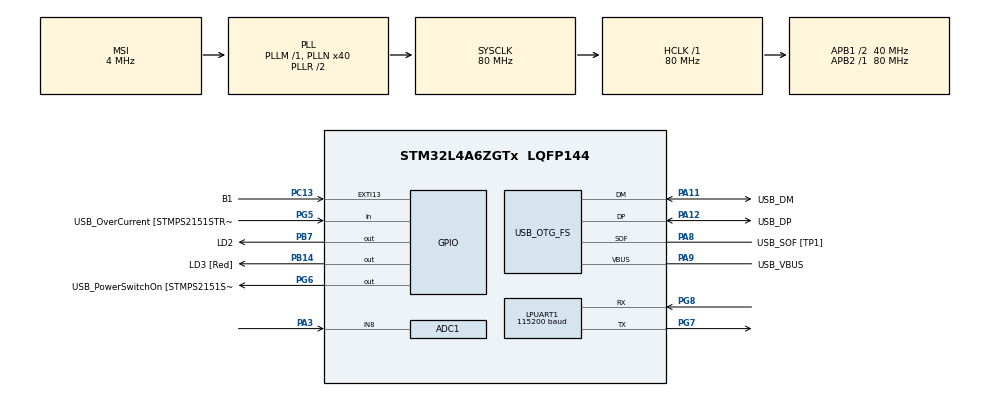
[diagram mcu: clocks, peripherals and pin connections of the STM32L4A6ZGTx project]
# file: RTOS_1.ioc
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ADC1.Channel-2\#ChannelRegularConversion=ADC_CHANNEL_8
ADC1.ContinuousConvMode=ENABLE
ADC1.NbrOfConversionFlag=1
ADC1.OffsetNumber-2\#ChannelRegularConversion=ADC_OFFSET_NONE
ADC1.Rank-2\#ChannelRegularConversion=1
ADC1.SamplingTime-2\#ChannelRegularConversion=ADC_SAMPLETIME_2CYCLES_5
ADC1.master=1
FREERTOS.INCLUDE_vTaskDelayUntil=1
FREERTOS.Tasks01=defaultTask,0,128,StartDefaultTask,Default,NULL,Dynamic,NULL,NULL;myTask02,0,128,Task02_init,Default,NULL,Dynamic,NULL,NULL;myTask04,1,128,StartTask04,Default,NULL,Dynamic,NULL,NULL
FREERTOS.configUSE_NEWLIB_REENTRANT=1
LPUART1.BaudRate=115200
LPUART1.WordLength=UART_WORDLENGTH_8B
Mcu.Family=STM32L4
Mcu.Name=STM32L4A6ZGTx
Mcu.Package=LQFP144
NVIC.PriorityGroup=NVIC_PRIORITYGROUP_4
NVIC.TIM1_UP_TIM16_IRQn=true\:15\:0\:false\:false\:true\:false\:false\:true\:true
NVIC.TimeBase=TIM1_UP_TIM16_IRQn
NVIC.TimeBaseIP=TIM1
PA10.GPIO_Label=USB_ID
PA10.Signal=USB_OTG_FS_ID
PA11.GPIO_Label=USB_DM
PA11.Mode=Device_Only
PA11.Signal=USB_OTG_FS_DM
PA12.GPIO_Label=USB_DP
PA12.Mode=Device_Only
PA12.Signal=USB_OTG_FS_DP
PA13\ (JTMS/SWDIO).GPIO_Label=TMS
PA13\ (JTMS/SWDIO).Mode=Trace_Asynchronous_SW
PA13\ (JTMS/SWDIO).Signal=SYS_JTMS-SWDIO
PA14\ (JTCK/SWCLK).GPIO_Label=TCK
PA14\ (JTCK/SWCLK).Mode=Trace_Asynchronous_SW
PA14\ (JTCK/SWCLK).Signal=SYS_JTCK-SWCLK
PA3.Signal=ADCx_IN8
PA8.GPIO_Label=USB_SOF [TP1]
PA8.Mode=Activate_SOF_FS
PA8.Signal=USB_OTG_FS_SOF
PA9.GPIO_Label=USB_VBUS
PA9.Mode=Activate_VBUS
PA9.Signal=USB_OTG_FS_VBUS
PB14.GPIO_Label=LD3 [Red]
PB14.Signal=GPIO_Output
PB3\ (JTDO/TRACESWO).GPIO_Label=SWO
PB3\ (JTDO/TRACESWO).Mode=Trace_Asynchronous_SW
PB3\ (JTDO/TRACESWO).Signal=SYS_JTDO-SWO
PB7.GPIO_Label=LD2
PB7.Signal=GPIO_Output
PC13.GPIO_Label=B1
PC13.Signal=GPXTI13
PC14-OSC32_IN\ (PC14).Mode=LSE-External-Oscillator
PC14-OSC32_IN\ (PC14).Signal=RCC_OSC32_IN
PC15-OSC32_OUT\ (PC15).Mode=LSE-External-Oscillator
PC15-OSC32_OUT\ (PC15).Signal=RCC_OSC32_OUT
PG5.GPIO_Label=USB_OverCurrent [STMPS2151STR_FAULT]
PG5.Signal=GPIO_Input
PG6.GPIO_Label=USB_PowerSwitchOn [STMPS2151STR_EN]
PG6.Signal=GPIO_Output
PG7.Mode=Asynchronous
PG7.Signal=LPUART1_TX
PG8.Mode=Asynchronous
PG8.Signal=LPUART1_RX
PH1-OSC_OUT\ (PH1).Signal=RCC_OSC_OUT
ProjectManager.HeapSize=0x200
ProjectManager.StackSize=0x400
ProjectManager.TargetToolchain=STM32CubeIDE
RCC.ADCFreq_Value=48000000
RCC.AHBFreq_Value=80000000
RCC.APB1CLKDivider=RCC_HCLK_DIV2
RCC.APB1Freq_Value=40000000
RCC.APB1TimFreq_Value=80000000
RCC.APB2Freq_Value=80000000
RCC.APB2TimFreq_Value=80000000
RCC.CortexFreq_Value=80000000
RCC.FLatency=FLASH_LATENCY_4
RCC.HCLKFreq_Value=80000000
RCC.HSE_VALUE=8000000
RCC.HSI48_VALUE=48000000
RCC.HSI_VALUE=16000000
RCC.MSI_VALUE=4000000
RCC.PLLN=40
RCC.PLLSAI1N=24
RCC.SYSCLKFreq_VALUE=80000000
RCC.SYSCLKSource=RCC_SYSCLKSOURCE_PLLCLK
RCC.USBFreq_Value=48000000
RCC.VCOOutputFreq_Value=160000000
SH.ADCx_IN8.0=ADC1_IN8,IN8-Single-Ended
USB_OTG_FS.Sof_enable=ENABLE
USB_OTG_FS.VirtualMode=Device_Only
USB_OTG_FS.battery_charging_enable=ENABLE
USB_OTG_FS.low_power_enable=DISABLE
USB_OTG_FS.lpm_enable=DISABLE
USB_OTG_FS.use_dedicated_ep1=DISABLE
USB_OTG_FS.vbus_sensing_enable=ENABLE
VP_FREERTOS_VS_CMSIS_V1.Mode=CMSIS_V1
VP_SYS_VS_tim1.Mode=TIM1
board=NUCLEO-L4A6ZG

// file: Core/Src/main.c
/* USER CODE BEGIN Header */
/**
  ******************************************************************************
  * @file           : main.c
  * @brief          : Main program body
  ******************************************************************************
  * @attention
  *
  * Copyright (c) 2025 STMicroelectronics.
  * All rights reserved.
  *
  * This software is licensed under terms that can be found in the LICENSE file
  * in the root directory of this software component.
  * If no LICENSE file comes with this software, it is provided AS-IS.
  *
  ******************************************************************************
  */
/* USER CODE END Header */
#include "main.h"
#include "cmsis_os.h"

/* USER CODE BEGIN Includes */
#include"stdio.h"
#include"string.h"
#include <math.h>
#include<stdbool.h>

#define ITM_PORT 0
uint8_t indix=0;
uint16_t ADC_Val;
float voltage=0;
float Angle=0;
char msg[64];

int _write(int file, char *ptr, int len) {
    for (int i = 0; i < len; i++) {
        ITM_SendChar(ptr[i]);
    }
    return len;
}
void float_to_string_manual(float value, char* buffer, int precision) {
    if (value < 0) {
        *buffer++ = '-';
        value = -value;
    }

    int int_part = (int)value;
    int frac_part = (int)((value - int_part) * pow(10, precision));

    // Convert integer part
    char int_str[12];
    int i = 0;
    if (int_part == 0) {
        int_str[i++] = '0';
    } else {
        while (int_part > 0) {
            int_str[i++] = (int_part % 10) + '0';
            int_part /= 10;
        }
    }

    // Reverse integer part
    for (int j = i - 1; j >= 0; j--) {
        *buffer++ = int_str[j];
    }

    *buffer++ = '.';

    // Convert fractional part
    for (int j = precision - 1; j >= 0; j--) {
        buffer[j] = (frac_part % 10) + '0';
        frac_part /= 10;
    }

    buffer += precision;
    *buffer = '\0';
}

/* USER CODE END Includes */

ADC_HandleTypeDef hadc1;

UART_HandleTypeDef hlpuart1;

PCD_HandleTypeDef hpcd_USB_OTG_FS;

osThreadId defaultTaskHandle;
osThreadId myTask02Handle;
osThreadId myTask04Handle;

void SystemClock_Config(void);
void PeriphCommonClock_Config(void);
static void MX_GPIO_Init(void);
static void MX_LPUART1_UART_Init(void);
static void MX_USB_OTG_FS_PCD_Init(void);
static void MX_ADC1_Init(void);
void StartDefaultTask(void const * argument);
void Task02_init(void const * argument);
void StartTask04(void const * argument);

int main(void)
{

  /* MCU Configuration--------------------------------------------------------*/

  /* Reset of all peripherals, Initializes the Flash interface and the Systick. */
  HAL_Init();

  /* Configure the system clock */
  SystemClock_Config();

  /* Configure the peripherals common clocks */
  PeriphCommonClock_Config();

  /* Initialize all configured peripherals */
  MX_GPIO_Init();
  MX_LPUART1_UART_Init();
  MX_USB_OTG_FS_PCD_Init();
  MX_ADC1_Init();
  /* USER CODE BEGIN 2 */
//+ printf("[%lu ms] Hello, world!\r\n", HAL_GetTick());

  //sprintf(msg, "[%lu ms] Hello, world!\r\n", HAL_GetTick());
  //HAL_UART_Transmit(&hlpuart1, (uint8_t *)msg, strlen(msg), HAL_MAX_DELAY);

 HAL_UART_Transmit(&hlpuart1,(uint8_t *)"\n starting...\r\n",strlen("\n starting...\n"),HAL_MAX_DELAY);

  /* USER CODE END 2 */

  /* Create the thread(s) */
  /* definition and creation of defaultTask */
  osThreadDef(defaultTask, StartDefaultTask, osPriorityNormal, 0, 128);
  defaultTaskHandle = osThreadCreate(osThread(defaultTask), NULL);

  /* definition and creation of myTask02 */
  osThreadDef(myTask02, Task02_init, osPriorityNormal, 0, 128);
  myTask02Handle = osThreadCreate(osThread(myTask02), NULL);

  /* definition and creation of myTask04 */
  osThreadDef(myTask04, StartTask04, osPriorityAboveNormal, 0, 128);
  myTask04Handle = osThreadCreate(osThread(myTask04), NULL);

  /* Start scheduler */
  osKernelStart();

  /* We should never get here as control is now taken by the scheduler */

  /* Infinite loop */
  while (1)
  {

  }
}

void SystemClock_Config(void)
{
  RCC_OscInitTypeDef RCC_OscInitStruct = {0};
  RCC_ClkInitTypeDef RCC_ClkInitStruct = {0};

  /** Configure the main internal regulator output voltage
  */
  if (HAL_PWREx_ControlVoltageScaling(PWR_REGULATOR_VOLTAGE_SCALE1) != HAL_OK)
  {
    Error_Handler();
  }

  /** Configure LSE Drive Capability
  */
  HAL_PWR_EnableBkUpAccess();
  __HAL_RCC_LSEDRIVE_CONFIG(RCC_LSEDRIVE_LOW);

  /** Initializes the RCC Oscillators according to the specified parameters
  * in the RCC_OscInitTypeDef structure.
  */
  RCC_OscInitStruct.OscillatorType = RCC_OSCILLATORTYPE_LSE|RCC_OSCILLATORTYPE_MSI;
  RCC_OscInitStruct.LSEState = RCC_LSE_ON;
  RCC_OscInitStruct.MSIState = RCC_MSI_ON;
  RCC_OscInitStruct.MSICalibrationValue = 0;
  RCC_OscInitStruct.MSIClockRange = RCC_MSIRANGE_6;
  RCC_OscInitStruct.PLL.PLLState = RCC_PLL_ON;
  RCC_OscInitStruct.PLL.PLLSource = RCC_PLLSOURCE_MSI;
  RCC_OscInitStruct.PLL.PLLM = 1;
  RCC_OscInitStruct.PLL.PLLN = 40;
  RCC_OscInitStruct.PLL.PLLP = RCC_PLLP_DIV2;
  RCC_OscInitStruct.PLL.PLLQ = RCC_PLLQ_DIV2;
  RCC_OscInitStruct.PLL.PLLR = RCC_PLLR_DIV2;
  if (HAL_RCC_OscConfig(&RCC_OscInitStruct) != HAL_OK)
  {
    Error_Handler();
  }

  /** Initializes the CPU, AHB and APB buses clocks
  */
  RCC_ClkInitStruct.ClockType = RCC_CLOCKTYPE_HCLK|RCC_CLOCKTYPE_SYSCLK
                              |RCC_CLOCKTYPE_PCLK1|RCC_CLOCKTYPE_PCLK2;
  RCC_ClkInitStruct.SYSCLKSource = RCC_SYSCLKSOURCE_PLLCLK;
  RCC_ClkInitStruct.AHBCLKDivider = RCC_SYSCLK_DIV1;
  RCC_ClkInitStruct.APB1CLKDivider = RCC_HCLK_DIV2;
  RCC_ClkInitStruct.APB2CLKDivider = RCC_HCLK_DIV1;

  if (HAL_RCC_ClockConfig(&RCC_ClkInitStruct, FLASH_LATENCY_4) != HAL_OK)
  {
    Error_Handler();
  }

  /** Enable MSI Auto calibration
  */
  HAL_RCCEx_EnableMSIPLLMode();
}

void PeriphCommonClock_Config(void)
{
  RCC_PeriphCLKInitTypeDef PeriphClkInit = {0};

  /** Initializes the peripherals clock
  */
  PeriphClkInit.PeriphClockSelection = RCC_PERIPHCLK_USB|RCC_PERIPHCLK_ADC;
  PeriphClkInit.AdcClockSelection = RCC_ADCCLKSOURCE_PLLSAI1;
  PeriphClkInit.UsbClockSelection = RCC_USBCLKSOURCE_PLLSAI1;
  PeriphClkInit.PLLSAI1.PLLSAI1Source = RCC_PLLSOURCE_MSI;
  PeriphClkInit.PLLSAI1.PLLSAI1M = 1;
  PeriphClkInit.PLLSAI1.PLLSAI1N = 24;
  PeriphClkInit.PLLSAI1.PLLSAI1P = RCC_PLLP_DIV2;
  PeriphClkInit.PLLSAI1.PLLSAI1Q = RCC_PLLQ_DIV2;
  PeriphClkInit.PLLSAI1.PLLSAI1R = RCC_PLLR_DIV2;
  PeriphClkInit.PLLSAI1.PLLSAI1ClockOut = RCC_PLLSAI1_48M2CLK|RCC_PLLSAI1_ADC1CLK;
  if (HAL_RCCEx_PeriphCLKConfig(&PeriphClkInit) != HAL_OK)
  {
    Error_Handler();
  }
}

static void MX_ADC1_Init(void)
{

  ADC_MultiModeTypeDef multimode = {0};
  ADC_ChannelConfTypeDef sConfig = {0};

  /** Common config
  */
  hadc1.Instance = ADC1;
  hadc1.Init.ClockPrescaler = ADC_CLOCK_ASYNC_DIV1;
  hadc1.Init.Resolution = ADC_RESOLUTION_12B;
  hadc1.Init.DataAlign = ADC_DATAALIGN_RIGHT;
  hadc1.Init.ScanConvMode = ADC_SCAN_DISABLE;
  hadc1.Init.EOCSelection = ADC_EOC_SINGLE_CONV;
  hadc1.Init.LowPowerAutoWait = DISABLE;
  hadc1.Init.ContinuousConvMode = ENABLE;
  hadc1.Init.NbrOfConversion = 1;
  hadc1.Init.DiscontinuousConvMode = DISABLE;
  hadc1.Init.ExternalTrigConv = ADC_SOFTWARE_START;
  hadc1.Init.ExternalTrigConvEdge = ADC_EXTERNALTRIGCONVEDGE_NONE;
  hadc1.Init.DMAContinuousRequests = DISABLE;
  hadc1.Init.Overrun = ADC_OVR_DATA_PRESERVED;
  hadc1.Init.OversamplingMode = DISABLE;
  if (HAL_ADC_Init(&hadc1) != HAL_OK)
  {
    Error_Handler();
  }

  /** Configure the ADC multi-mode
  */
  multimode.Mode = ADC_MODE_INDEPENDENT;
  if (HAL_ADCEx_MultiModeConfigChannel(&hadc1, &multimode) != HAL_OK)
  {
    Error_Handler();
  }

  /** Configure Regular Channel
  */
  sConfig.Channel = ADC_CHANNEL_8;
  sConfig.Rank = ADC_REGULAR_RANK_1;
  sConfig.SamplingTime = ADC_SAMPLETIME_2CYCLES_5;
  sConfig.SingleDiff = ADC_SINGLE_ENDED;
  sConfig.OffsetNumber = ADC_OFFSET_NONE;
  sConfig.Offset = 0;
  if (HAL_ADC_ConfigChannel(&hadc1, &sConfig) != HAL_OK)
  {
    Error_Handler();
  }

}

static void MX_LPUART1_UART_Init(void)
{

  hlpuart1.Instance = LPUART1;
  hlpuart1.Init.BaudRate = 115200;
  hlpuart1.Init.WordLength = UART_WORDLENGTH_8B;
  hlpuart1.Init.StopBits = UART_STOPBITS_1;
  hlpuart1.Init.Parity = UART_PARITY_NONE;
  hlpuart1.Init.Mode = UART_MODE_TX_RX;
  hlpuart1.Init.HwFlowCtl = UART_HWCONTROL_NONE;
  hlpuart1.Init.OneBitSampling = UART_ONE_BIT_SAMPLE_DISABLE;
  hlpuart1.AdvancedInit.AdvFeatureInit = UART_ADVFEATURE_NO_INIT;
  if (HAL_UART_Init(&hlpuart1) != HAL_OK)
  {
    Error_Handler();
  }

}

static void MX_USB_OTG_FS_PCD_Init(void)
{

  hpcd_USB_OTG_FS.Instance = USB_OTG_FS;
  hpcd_USB_OTG_FS.Init.dev_endpoints = 6;
  hpcd_USB_OTG_FS.Init.speed = PCD_SPEED_FULL;
  hpcd_USB_OTG_FS.Init.phy_itface = PCD_PHY_EMBEDDED;
  hpcd_USB_OTG_FS.Init.Sof_enable = ENABLE;
  hpcd_USB_OTG_FS.Init.low_power_enable = DISABLE;
  hpcd_USB_OTG_FS.Init.lpm_enable = DISABLE;
  hpcd_USB_OTG_FS.Init.battery_charging_enable = ENABLE;
  hpcd_USB_OTG_FS.Init.use_dedicated_ep1 = DISABLE;
  hpcd_USB_OTG_FS.Init.vbus_sensing_enable = ENABLE;
  if (HAL_PCD_Init(&hpcd_USB_OTG_FS) != HAL_OK)
  {
    Error_Handler();
  }

}

static void MX_GPIO_Init(void)
{
  GPIO_InitTypeDef GPIO_InitStruct = {0};

  /* GPIO Ports Clock Enable */
  __HAL_RCC_GPIOC_CLK_ENABLE();
  __HAL_RCC_GPIOH_CLK_ENABLE();
  __HAL_RCC_GPIOA_CLK_ENABLE();
  __HAL_RCC_GPIOB_CLK_ENABLE();
  __HAL_RCC_GPIOG_CLK_ENABLE();
  HAL_PWREx_EnableVddIO2();

  /*Configure GPIO pin Output Level */
  HAL_GPIO_WritePin(GPIOB, LD3_Pin|LD2_Pin, GPIO_PIN_RESET);

  /*Configure GPIO pin Output Level */
  HAL_GPIO_WritePin(USB_PowerSwitchOn_GPIO_Port, USB_PowerSwitchOn_Pin, GPIO_PIN_RESET);

  /*Configure GPIO pin : B1_Pin */
  GPIO_InitStruct.Pin = B1_Pin;
  GPIO_InitStruct.Mode = GPIO_MODE_IT_RISING;
  GPIO_InitStruct.Pull = GPIO_NOPULL;
  HAL_GPIO_Init(B1_GPIO_Port, &GPIO_InitStruct);

  /*Configure GPIO pins : LD3_Pin LD2_Pin */
  GPIO_InitStruct.Pin = LD3_Pin|LD2_Pin;
  GPIO_InitStruct.Mode = GPIO_MODE_OUTPUT_PP;
  GPIO_InitStruct.Pull = GPIO_NOPULL;
  GPIO_InitStruct.Speed = GPIO_SPEED_FREQ_LOW;
  HAL_GPIO_Init(GPIOB, &GPIO_InitStruct);

  /*Configure GPIO pin : USB_OverCurrent_Pin */
  GPIO_InitStruct.Pin = USB_OverCurrent_Pin;
  GPIO_InitStruct.Mode = GPIO_MODE_INPUT;
  GPIO_InitStruct.Pull = GPIO_NOPULL;
  HAL_GPIO_Init(USB_OverCurrent_GPIO_Port, &GPIO_InitStruct);

  /*Configure GPIO pin : USB_PowerSwitchOn_Pin */
  GPIO_InitStruct.Pin = USB_PowerSwitchOn_Pin;
  GPIO_InitStruct.Mode = GPIO_MODE_OUTPUT_PP;
  GPIO_InitStruct.Pull = GPIO_NOPULL;
  GPIO_InitStruct.Speed = GPIO_SPEED_FREQ_LOW;
  HAL_GPIO_Init(USB_PowerSwitchOn_GPIO_Port, &GPIO_InitStruct);

}

void StartDefaultTask(void const * argument)
{
  /* USER CODE BEGIN 5 */
  /* Infinite loop */
  for(;;)
  {
	 // sprintf(msg, "[%lu ms] Hello, world!\r\n", HAL_GetTick());
	  //  HAL_UART_Transmit(&hlpuart1, (uint8_t *)msg, strlen(msg), HAL_MAX_DELAY);
	 HAL_UART_Transmit(&hlpuart1,(uint8_t *)"RED LED TOGGLING...\r\n",strlen("RED LED TOGGLING...\r\n"),HAL_MAX_DELAY);
	 // printf("[%lu ms]RED LED TOGGLING...!\r\n",HAL_GetTick());
	  HAL_GPIO_TogglePin(LD3_GPIO_Port, LD3_Pin);
    osDelay(100);
  }
  /* USER CODE END 5 */
}

void Task02_init(void const * argument)
{
  /* USER CODE BEGIN Task02_init */
  /* Infinite loop */
  for(;;)
  {
	  //sprintf(msg, "[%lu ms] Hello, world!\r\n", HAL_GetTick());
	  //  HAL_UART_Transmit(&hlpuart1, (uint8_t *)msg, strlen(msg), HAL_MAX_DELAY);
	 HAL_UART_Transmit(&hlpuart1,(uint8_t *)"BLUE LED TOGGLING...\r\n",strlen("BLUE LED TOGGLING...\r\n"),HAL_MAX_DELAY);
	// printf("[%lu ms]BLUE LED TOGGLING...!\r\n",HAL_GetTick());

	  HAL_GPIO_TogglePin(GPIOB, GPIO_PIN_7);
    osDelay(100);
  }
  /* USER CODE END Task02_init */
}

void StartTask04(void const * argument)
{
  /* USER CODE BEGIN StartTask04 */
  /* Infinite loop */
	bool is_defaultTaskSuspended = false;
	bool is_myTask02Suspended = false;
	float prev_voltage = 0.0f;
  for(;;)
  {
	  HAL_ADC_Start(&hadc1);
	  HAL_ADC_PollForConversion(&hadc1,10);
	  ADC_Val=HAL_ADC_GetValue(&hadc1);

	  HAL_ADC_Stop(&hadc1);

	  voltage=(ADC_Val*3.3)/4095;
	  Angle=(voltage*100)/3.3;
	  if (fabs(prev_voltage - voltage) > 0.01f){
	      if (!is_defaultTaskSuspended) {
	          osThreadSuspend(defaultTaskHandle);
	          is_defaultTaskSuspended = true;
	      }

	      if (!is_myTask02Suspended) {
	          osThreadSuspend(myTask02Handle);
	          is_myTask02Suspended = true;
	      }

	     // printf("[%lu ms]ADC VOLTAGE!= %.2f \r\n", HAL_GetTick(), voltage);
	      char msg[30];
	      char voltage_str[16];

	      float_to_string_manual(voltage, voltage_str, 2);

	      strcpy(msg, "Voltage = ");
	      strcat(msg, voltage_str);
	      strcat(msg, " V\r\n");

	      HAL_UART_Transmit(&hlpuart1, (uint8_t*)msg, strlen(msg), HAL_MAX_DELAY);

	  } else {
	      if (is_defaultTaskSuspended) {
	          osThreadResume(defaultTaskHandle);
	          is_defaultTaskSuspended = false;
	      }

	      if (is_myTask02Suspended) {
	          osThreadResume(myTask02Handle);
	          is_myTask02Suspended = false;
	      }

	  }

//		    sprintf(msg, "[%lu ms] Hello, world!\r\n", HAL_GetTick());
//		    HAL_UART_Transmit(&hlpuart1, (uint8_t *)msg, strlen(msg), HAL_MAX_DELAY);
//		    char buf[32];
//		    sprintf(buf, "Voltage: %.2f V\r\n", voltage);
//		    HAL_UART_Transmit(&hlpuart1, (uint8_t *)buf, strlen(buf), HAL_MAX_DELAY);

		//  HAL_UART_Transmit(&hlpuart1,(uint8_t *)"\r\n",strlen("\r\n"),HAL_MAX_DELAY);

	  prev_voltage = voltage;
	  osDelay(200);
  }
  /* USER CODE END StartTask04 */
}

void HAL_TIM_PeriodElapsedCallback(TIM_HandleTypeDef *htim)
{
  if (htim->Instance == TIM1)
  {
    HAL_IncTick();
  }
}

void Error_Handler(void)
{
  __disable_irq();
  while (1)
  {
  }
}
